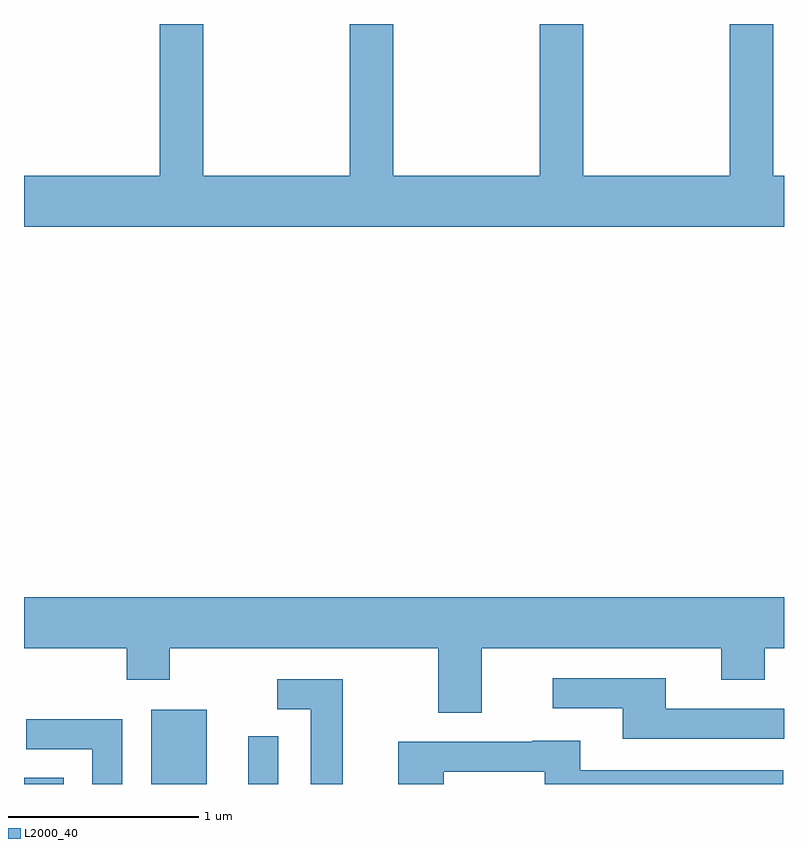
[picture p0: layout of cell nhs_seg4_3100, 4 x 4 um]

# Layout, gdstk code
import gdstk
lib = gdstk.Library(unit=1e-6, precision=1e-09)
def R(c, l, rs):  # rectangles x0, y0, x1, y1
    for r in rs: c.add(gdstk.rectangle(r[:2], r[2:], *l))
def P(c, l, *ps):  # polygons
    for p in ps: c.add(gdstk.Polygon(p, *l))
L2000_40 = (2000, 40)

nhs_seg4_3100 = lib.new_cell('nhs_seg4_3100')
R(nhs_seg4_3100, L2000_40, [(275.611,1333.982,275.819,1334.014), (276.281,1333.982,276.574,1334.374), (276.791,1333.982,276.949,1334.233)])
P(nhs_seg4_3100, L2000_40, [(279.611,1337.184),(279.554,1337.184),(279.554,1337.982),(279.326,1337.982),(279.326,1337.184),(278.554,1337.184),(278.554,1337.982),(278.326,1337.982),(278.326,1337.184),(277.554,1337.184),(277.554,1337.982),(277.326,1337.982),(277.326,1337.184),(276.554,1337.184),(276.554,1337.982),(276.326,1337.982),(276.326,1337.184),(275.611,1337.184),(275.611,1336.916),(279.611,1336.916)],
  [(278.019,1334.696),(279.281,1334.696),(279.281,1334.531),(279.509,1334.531),(279.509,1334.696),(279.611,1334.696),(279.611,1334.964),(275.611,1334.964),(275.611,1334.696),(276.151,1334.696),(276.151,1334.531),(276.379,1334.531),(276.379,1334.696),(277.791,1334.696),(277.791,1334.356),(278.019,1334.356)],
  [(279.611,1334.379),(278.989,1334.379),(278.989,1334.539),(278.393,1334.539),(278.393,1334.381),(278.761,1334.381),(278.761,1334.221),(279.611,1334.221)],
  [(277.289,1334.534),(276.943,1334.534),(276.943,1334.376),(277.121,1334.376),(277.121,1333.982),(277.289,1333.982)],
  [(276.129,1334.324),(275.623,1334.324),(275.623,1334.166),(275.971,1334.166),(275.971,1333.982),(276.129,1333.982)],
  [(277.819,1334.046),(278.351,1334.046),(278.351,1333.982),(279.608,1333.982),(279.608,1334.054),(278.539,1334.054),(278.539,1334.209),(278.285,1334.209),(278.285,1334.204),(277.581,1334.204),(277.581,1333.982),(277.819,1333.982)])

lib.write_gds('nhs_seg4_3100.gds')
